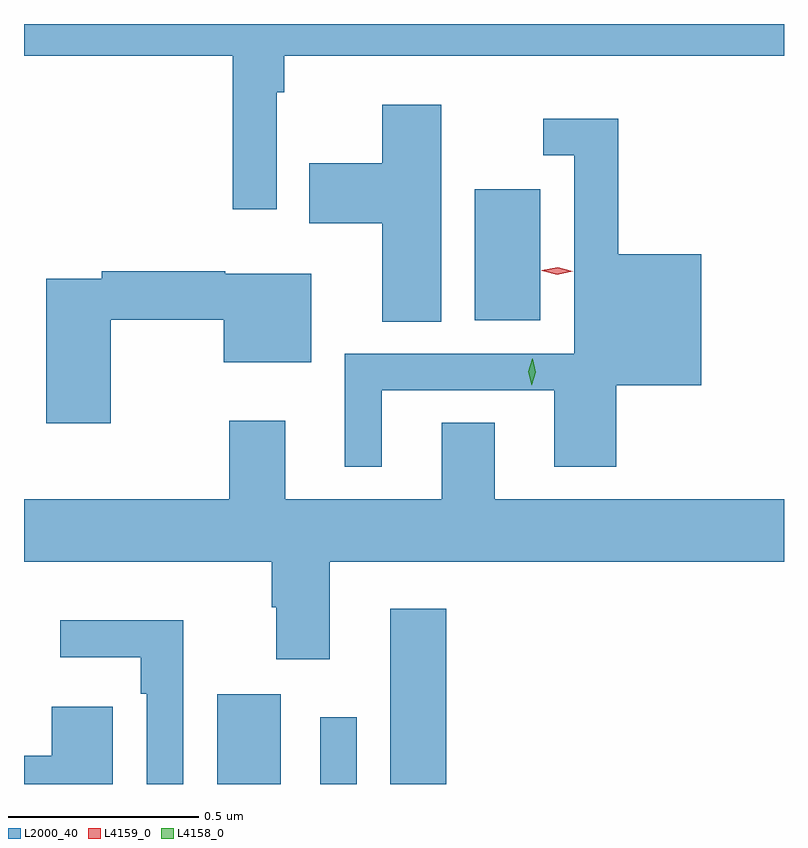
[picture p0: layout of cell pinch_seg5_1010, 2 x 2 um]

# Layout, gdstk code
import gdstk
lib = gdstk.Library(unit=1e-6, precision=1e-09)
def R(c, l, rs):  # rectangles x0, y0, x1, y1
    for r in rs: c.add(gdstk.rectangle(r[:2], r[2:], *l))
def P(c, l, *ps):  # polygons
    for p in ps: c.add(gdstk.Polygon(p, *l))
L2000_40 = (2000, 40)
L4158_0 = (4158, 0)
L4159_0 = (4159, 0)

pinch_seg5_1010 = lib.new_cell('pinch_seg5_1010')
R(pinch_seg5_1010, L2000_40, [(725.888,885.479,726.055,885.715), (726.159,885.479,726.255,885.655), (726.344,885.479,726.491,885.94), (726.566,886.7,726.739,887.044)])
P(pinch_seg5_1010, L2000_40, [(726.045,887.3),(726.065,887.3),(726.065,887.396),(727.38,887.396),(727.38,887.479),(725.38,887.479),(725.38,887.396),(725.929,887.396),(725.929,886.992),(726.045,886.992)],
  [(726.478,887.266),(726.323,887.266),(726.323,887.113),(726.13,887.113),(726.13,886.955),(726.323,886.955),(726.323,886.696),(726.478,886.696)],
  [(726.322,886.515),(726.776,886.515),(726.776,886.314),(726.938,886.314),(726.938,886.529),(727.162,886.529),(727.162,886.873),(726.944,886.873),(726.944,887.23),(726.747,887.23),(726.747,887.133),(726.828,887.133),(726.828,886.611),(726.224,886.611),(726.224,886.314),(726.322,886.314)],
  [(725.608,886.701),(725.906,886.701),(725.906,886.589),(726.136,886.589),(726.136,886.822),(725.91,886.822),(725.91,886.829),(725.584,886.829),(725.584,886.809),(725.438,886.809),(725.438,886.428),(725.608,886.428)],
  [(726.184,886.064),(727.38,886.064),(727.38,886.228),(726.619,886.228),(726.619,886.43),(726.479,886.43),(726.479,886.228),(726.067,886.228),(726.067,886.435),(725.92,886.435),(725.92,886.228),(725.38,886.228),(725.38,886.064),(726.032,886.064),(726.032,885.944),(726.044,885.944),(726.044,885.807),(726.184,885.807)],
  [(725.799,885.91),(725.475,885.91),(725.475,885.812),(725.687,885.812),(725.687,885.716),(725.703,885.716),(725.703,885.479),(725.799,885.479)],
  [(725.614,885.569),(725.613,885.569),(725.613,885.682),(725.453,885.682),(725.453,885.554),(725.38,885.554),(725.38,885.479),(725.614,885.479)])
P(pinch_seg5_1010, L4158_0, [(726.716,886.528),(726.716,886.528),(726.707,886.564),(726.718,886.598),(726.718,886.598),(726.719,886.598),(726.727,886.563),(726.716,886.528)])
P(pinch_seg5_1010, L4159_0, [(726.783,886.819),(726.743,886.83),(726.743,886.83),(726.743,886.831),(726.784,886.839),(726.824,886.828),(726.824,886.828),(726.824,886.828)])

lib.write_gds('pinch_seg5_1010.gds')
